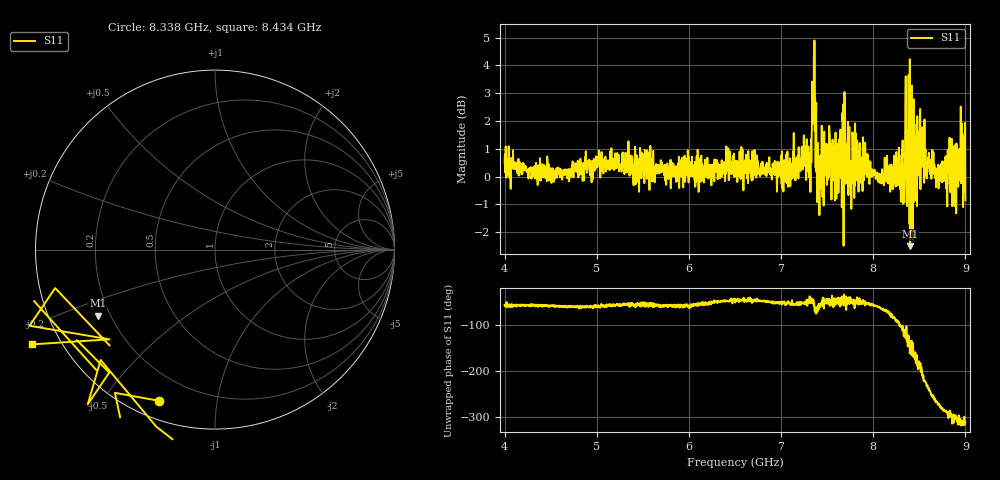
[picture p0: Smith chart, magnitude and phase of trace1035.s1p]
! Created with skrf 1.8.0 (http://scikit-rf.org).
# Hz S RI R 50.0
!freq ReS11 ImS11
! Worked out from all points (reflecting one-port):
!   1601 points, 4 GHz to 9 GHz, reference 50 ohm
!   lowest |S11| = -2.5 dB at 8.4 GHz (marker M1), VSWR 7.00, Z = 7.62 - j12.8 ohm
!   phase of S11 starts at -57 deg and turns -255 deg over the sweep
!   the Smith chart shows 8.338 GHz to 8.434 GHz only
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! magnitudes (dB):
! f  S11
! 4 GHz  0.5
! 4.625 GHz  -0.1
! 5.25 GHz  0.4
! 5.875 GHz  0.1
! 6.5 GHz  0.0
! 7.125 GHz  0.4
! 7.306 GHz  0.9
! 7.356 GHz  4.3
! 7.412 GHz  0.3
! 7.509 GHz  0.0
! 7.609 GHz  0.3
! 7.688 GHz  3.0
! 7.75 GHz  0.0
! 7.828 GHz  0.9
! 8.097 GHz  0.3
! 8.259 GHz  0.4
! 8.316 GHz  0.7
! 8.334 GHz  -0.8
! 8.35 GHz  3.0
! 8.375 GHz  -0.7
! 8.4 GHz  -2.5
! 8.447 GHz  1.9
! 8.522 GHz  1.2
! 8.597 GHz  0.7
! 8.781 GHz  0.0
! 8.956 GHz  0.3
! 8.972 GHz  0.8
! 9 GHz  -0.8
